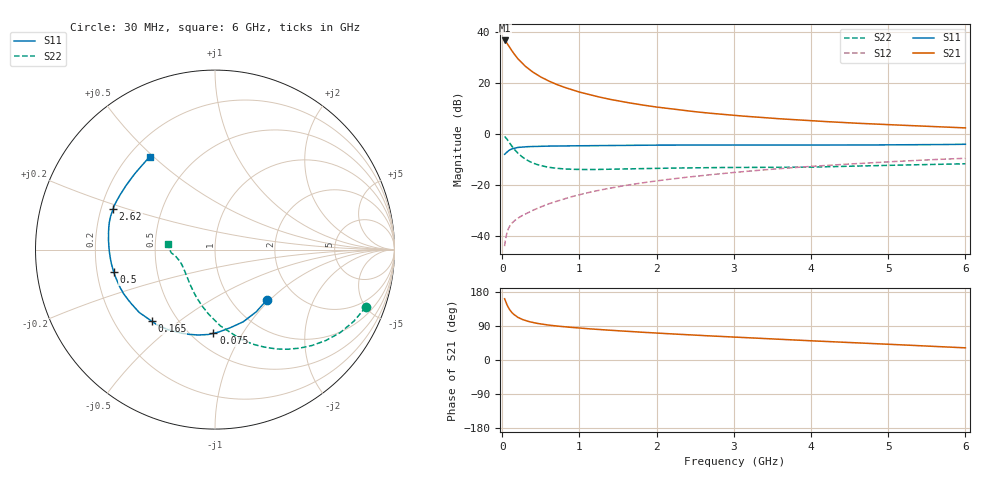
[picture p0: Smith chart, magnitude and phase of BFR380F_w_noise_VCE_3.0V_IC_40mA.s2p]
! Infineon Technologies  Discrete & RF Semiconductors
! BFR380F
! VCE =  3.0 V,  IC =  40 mA
! Common Emitter S-Parameters:  Nov 2015
# GHz  S  MA  R  50
!  f  S11  S21  S12  S22
! GHz  MAG  ANG  MAG  ANG  MAG  ANG  MAG  ANG
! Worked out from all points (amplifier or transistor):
!   206 points, 30 MHz to 6 GHz, reference 50 ohm
!   highest |S21| = 36.7 dB at 30 MHz (marker M1)
!   |S21| within 3 dB of that: start of sweep to 101.7 MHz
!   unconditionally stable (mu >= 1): 966.6 MHz to 4.939 GHz
!   at 200 MHz: K = 0.57, MSG = 31.3 dB, |S12| = -33.0 dB
!   at 1.56 GHz: K = 1.03, MAG = 15.4 dB, |S12| = -20.3 dB
!   at 6 GHz: K = 0.99, MSG = 6.0 dB, |S12| = -9.5 dB
!   lowest NFmin = 1.37 dB at 900 MHz
!   S11 on the Smith chart (normalised r, x): 30 MHz: 1.44, -0.96; 75 MHz: 0.63, -0.75; 165 MHz: 0.36, -0.40; 500 MHz: 0.27, -0.10; 2.62 GHz: 0.25, +0.18; 6 GHz: 0.28, +0.49
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0.03  0.4027 -43.9  68.23 161.6  0.0064 76.5  0.8992 -20.9
0.05  0.4317 -68.6  63.39 150.6  0.0101 71.2  0.8367 -33.6
0.07  0.4598 -87.4  57.3 141.7  0.0129 64.6  0.7604 -44.6
0.075  0.4664 -91.1  55.81 139.9  0.0135 63.4  0.7413 -46.9
0.1  0.4936 -106.9  48.73 131.5  0.0162 59.3  0.6537 -57.9
0.12  0.5088 -116.6  43.82 126.2  0.0178 57.2  0.5925 -65.1
0.15  0.5293 -127.7  37.73 120.0  0.0197 55.5  0.5171 -74.2
0.165  0.5323 -131.6  35.4 118.1  0.0205 55.3  0.4879 -77.2
0.2  0.5485 -140.3  30.13 112.6  0.0225 54.9  0.4263 -85.9
0.24  0.5545 -146.7  26 108.8  0.0245 55.6  0.3765 -93.0
0.3  0.5655 -154.3  21.21 103.9  0.0274 57.1  0.3225 -102.8
0.4  0.5725 -162.3  16.24 98.7  0.0324 60.1  0.2707 -115.0
0.5  0.5785 -167.7  13.12 95.0  0.0376 62.6  0.2414 -124.5
0.7  0.5847 -174.8  9.455 89.8  0.0484 66.2  0.2146 -138.2
1.04  0.5923 177.6  6.42 83.7  0.0675 69.0  0.2029 -152.0
1.4  0.5996 171.8  4.783 78.5  0.0877 70.1  0.2051 -160.1
2.02  0.6091 164.3  3.359 70.9  0.1227 69.6  0.2139 -166.2
2.62  0.6122 158.1  2.626 64.3  0.156 68.1  0.2204 -169.6
3.1  0.6114 153.8  2.267 59.6  0.183 66.6  0.2227 -170.6
4.1  0.6108 144.0  1.792 49.8  0.2387 62.1  0.2275 -171.7
5.1  0.6165 134.8  1.511 40.6  0.2918 57.3  0.2464 -176.9
6  0.6329 125.1  1.324 32.1  0.3363 51.9  0.2627 172.7
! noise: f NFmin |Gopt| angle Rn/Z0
0.45  1.41  0.36  -176  0.08
0.9  1.37  0.39  -176  0.07
1.8  1.57  0.44  -164  0.08
1.9  1.66  0.45  -165  0.08
2.4  1.71  0.46  -156  0.11
3.5  2.31  0.51  -144  0.17
